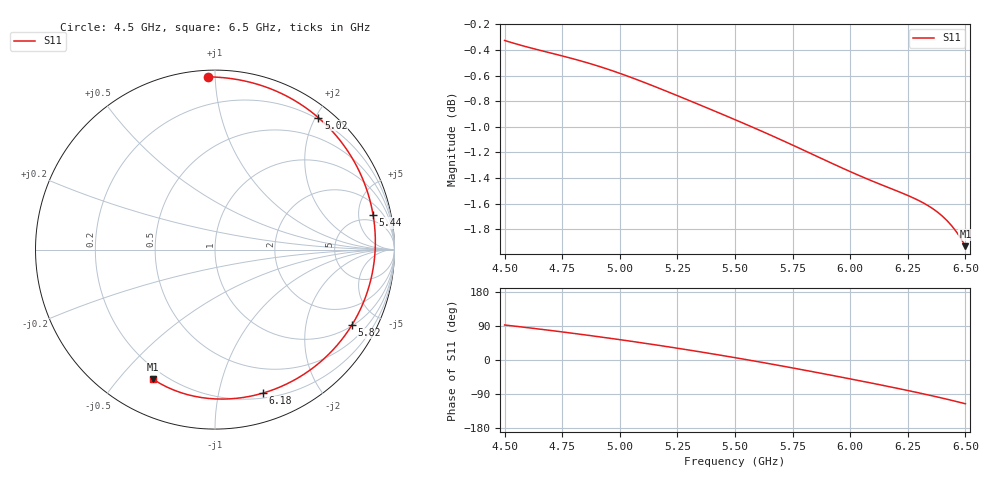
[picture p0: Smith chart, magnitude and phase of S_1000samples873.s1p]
! TOUCHSTONE file generated by CST MICROWAVE STUDIO
! Date and time: Sat Oct 29 16:06:24 2022
! Project name: L.cst
! Parameters = {Di=1.27; Epsilon_r=1.56; InnerDiameter=1.27; Length=2; Lf=10; Lg=60; OuterConductorThickness=0.2921; OuterDiameter=3.6; Wf=3; Wp=41.2; de=1.5; df=6.8; g=0.8; gx=3.6312; gy=3.3443; h=2.34; hf=1.524; px=8.93396; py=12.8925; w=9.7; wx=5.30275; wy=9.54815}
! Header version: 2018
! Port assignment regex: !\s*Touchstone port\s*([0-9]+)\s*=\s*(CST MWS port|CST DS port)\s*([0-9]+|Zmin|Zmax)\s*\(\"(.*)\"\)(\s*mode\s*([0-9]+))?.*
! Touchstone port assignment:
! Touchstone port 1 = CST MWS port 1 ("")
# GHz S DB R 50
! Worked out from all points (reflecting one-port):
!   101 points, 4.5 GHz to 6.5 GHz, reference 50 ohm
!   lowest |S11| = -1.9 dB at 6.5 GHz (marker M1), VSWR 9.03, Z = 7.71 - j31 ohm
!   phase of S11 starts at 92 deg and turns -208 deg over the sweep
!   S11 on the Smith chart (normalised r, x): 4.5 GHz: 0.04, +0.96; 5.02 GHz: 0.18, +2.04; 5.44 GHz: 3.63, +7.51; 5.82 GHz: 1.03, -3.60; 6.18 GHz: 0.25, -1.36; 6.5 GHz: 0.15, -0.62
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4.5  -0.32 92.4
4.64  -0.40 82.4
4.76  -0.45 73.3
4.82  -0.48 68.6
4.88  -0.51 63.7
4.94  -0.54 58.8
5  -0.58 53.7
5.02  -0.59 51.9
5.14  -0.68 41.3
5.26  -0.76 30.1
5.36  -0.84 20.4
5.44  -0.90 12.4
5.5  -0.94 6.2
5.58  -1.01 -2.3
5.64  -1.05 -8.8
5.7  -1.10 -15.4
5.76  -1.15 -22.1
5.82  -1.20 -28.9
5.9  -1.27 -38.1
6  -1.35 -49.9
6.06  -1.40 -57.0
6.1  -1.43 -61.9
6.18  -1.48 -71.7
6.26  -1.54 -81.8
6.32  -1.60 -89.7
6.38  -1.67 -97.9
6.44  -1.77 -106.4
6.5  -1.93 -115.5
